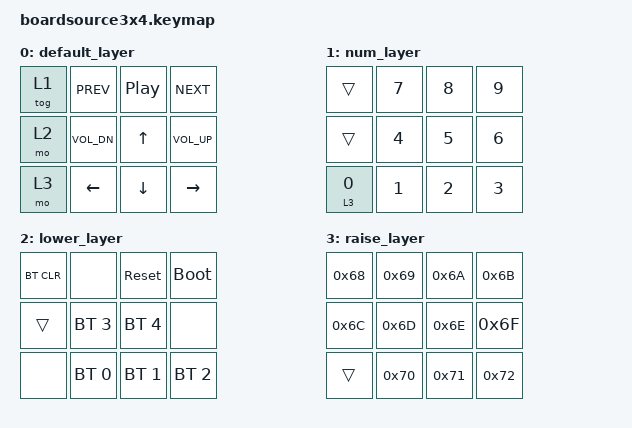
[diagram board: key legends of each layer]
/*
 * Copyright (c) 2020 The ZMK Contributors
 *
 * SPDX-License-Identifier: MIT
 */

#include <behaviors.dtsi>
#include <dt-bindings/zmk/keys.h>
#include <dt-bindings/zmk/bt.h>

/ {
    keymap {
        compatible = "zmk,keymap";

        default_layer {

            bindings = <
    &tog 1 &kp C_PREV   &kp C_PP &kp C_NEXT
    &mo 2  &kp C_VOL_DN &kp UP   &kp C_VOL_UP
    &mo 3  &kp LEFT     &kp DOWN &kp RIGHT
            >;

        };

        num_layer {
            bindings = <
    &trans   &kp N7 &kp N8 &kp N9
    &trans   &kp N4 &kp N5 &kp N6
    &lt 3 N0 &kp N1 &kp N2 &kp N3
            >;
        };

        lower_layer {
            bindings = <
    &bt BT_CLR &none        &sys_reset       &bootloader
    &trans     &bt BT_SEL 3 &bt BT_SEL 4 &none
    &none      &bt BT_SEL 0 &bt BT_SEL 1 &bt BT_SEL 2
            >;
        };

        raise_layer {
            bindings = <
    &kp 0x68 &kp 0x69 &kp 0x6A &kp 0x6B
    &kp 0x6C &kp 0x6D &kp 0x6E &kp 0x6F
    &trans   &kp 0x70 &kp 0x71 &kp 0x72
            >;
        };
    };

    &kscan0 {
        compatible = "zmk,kscan-gpio-matrix";
        label = "KSCAN";
        diode-direction = "col2row";

         row-gpios
            = <&xiao_d 2 (GPIO_ACTIVE_HIGH | GPIO_PULL_DOWN)>
            , <&xiao_d 3 (GPIO_ACTIVE_HIGH | GPIO_PULL_DOWN)>
            , <&xiao_d 4 (GPIO_ACTIVE_HIGH | GPIO_PULL_DOWN)>
            ;

        col-gpios
            = <&xiao_d 9 GPIO_ACTIVE_HIGH>
            , <&xiao_d 10 GPIO_ACTIVE_HIGH>
            , <&xiao_d 11 GPIO_ACTIVE_HIGH>
            , <&xiao_d 7 GPIO_ACTIVE_HIGH>
            ;
    };;
};
